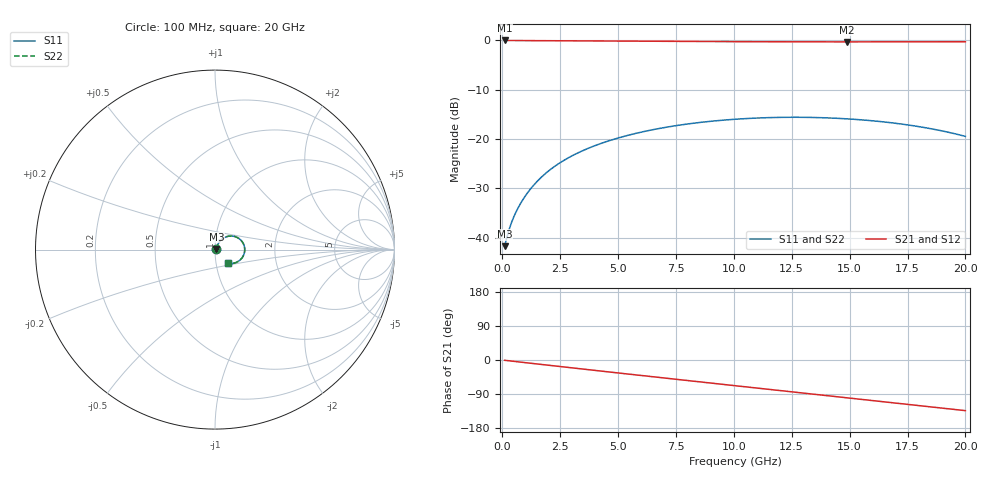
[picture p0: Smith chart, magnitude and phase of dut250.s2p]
! Touchstone file exported from HFSS 2026.1.0
!  File:  C:/ffzhzh/LocalFiles/Ansys_Project_Files/temp_train_TSV_RDL_250_1783067665_45820.aedt
!  Generated:  04:46:17 PM Jul  3, 2026
!  Design:  TSV_RDL
!  Project:  temp_train_TSV_RDL_250_1783067665_45820
! Variables:
!  h_bsmrdl = 2.18um
!  h_ox = 20um
!  h_rdl = 5um
!  h_sub = 96.13um
!  h_tmrdl = 6um
!  h_tsv = 96.13um
!  h_via = 3um
!  l_bsmrdl = 196.38um
!  l_sub = 1993.16um
!  l_tmrdl = 212.92um
!  m_sub = 200um
!  pitch = 38.71um
!  r_tsv = 10.56um
!  s_tmrdl = 10um
!  w_bsmrdl = 23.38um
!  w_sub = 500um
!  w_tmrdl = 27.4um
!  x_tsv_center1 = 226.62um
!  x_tsv_center2 = 446.38um
!  x_tsv_center3 = 686.7um
!  x_tsv_center4 = 906.46um
!  x_tsv_center5 = 1146.78um
!  x_tsv_center6 = 1366.54um
# GHz S MA R 50.000000
! Terminal data exported
! Port[1] = TM_RDL1_1_T1
! Port[2] = TM_RDL5_1_T1
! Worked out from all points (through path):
!   200 points, 100 MHz to 20 GHz, reference 50 ohm
!   highest |S21| = -0.07 dB at 100 MHz (marker M1); lowest = -0.4 dB at 14.9 GHz (marker M2)
!   group delay of S21, straight-line fit = 18.5 ps
!   lowest |S11| = -41.7 dB at 100 MHz (marker M3), VSWR 1.02, Z = 50.8 + j0.309 ohm
!   |S11| at or under -10 dB: start of sweep to end of sweep
!   |S22| runs from -41.7 to -15.6 dB; largest |S21 - S12| = 2.9e-13
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0.1  0.008212 21.7  0.9924 -0.7  0.9924 -0.7  0.008212 21.7
! Gamma 0 0 0 0
! Port Impedance 50 0 50 0
0.3  0.0122 42.6  0.9913 -2.2  0.9913 -2.2  0.0122 42.6
0.4  0.01429 47.3  0.9908 -2.9  0.9908 -2.9  0.01429 47.3
0.6  0.01836 53.2  0.9901 -4.3  0.9901 -4.3  0.01836 53.2
0.9  0.02451 58.0  0.9892 -6.3  0.9892 -6.3  0.02451 58.0
1.3  0.03288 60.6  0.9881 -9.1  0.9881 -9.1  0.03288 60.6
1.7  0.04125 61.0  0.987 -11.8  0.987 -11.8  0.04125 61.0
2.2  0.05152 59.9  0.9855 -15.3  0.9855 -15.3  0.05151 59.9
2.8  0.06338 57.6  0.9836 -19.3  0.9836 -19.3  0.06338 57.6
3.5  0.07653 54.3  0.9814 -24.1  0.9814 -24.1  0.07653 54.3
4.2  0.08893 50.6  0.9793 -28.8  0.9793 -28.8  0.08893 50.6
5  0.1021 46.1  0.9769 -34.2  0.9769 -34.2  0.1021 46.1
5.9  0.1157 40.9  0.9743 -40.2  0.9743 -40.2  0.1157 40.9
6.8  0.1279 35.5  0.9719 -46.2  0.9719 -46.2  0.1279 35.6
8.5  0.1465 25.2  0.9677 -57.5  0.9677 -57.5  0.1465 25.2
10.1  0.1585 15.3  0.9645 -68.1  0.9645 -68.1  0.1585 15.3
11.8  0.1649 4.8  0.9621 -79.3  0.9621 -79.3  0.1649 4.8
13.4  0.1649 -5.2  0.9609 -89.8  0.9609 -89.8  0.1649 -5.2
14.9  0.1596 -14.6  0.9605 -99.7  0.9605 -99.7  0.1596 -14.6
16.7  0.1467 -25.9  0.9609 -111.6  0.9609 -111.6  0.1467 -25.9
18.3  0.1295 -35.9  0.9617 -122.3  0.9617 -122.3  0.1295 -35.8
20  0.1061 -46.3  0.9627 -133.6  0.9627 -133.6  0.1061 -46.3
